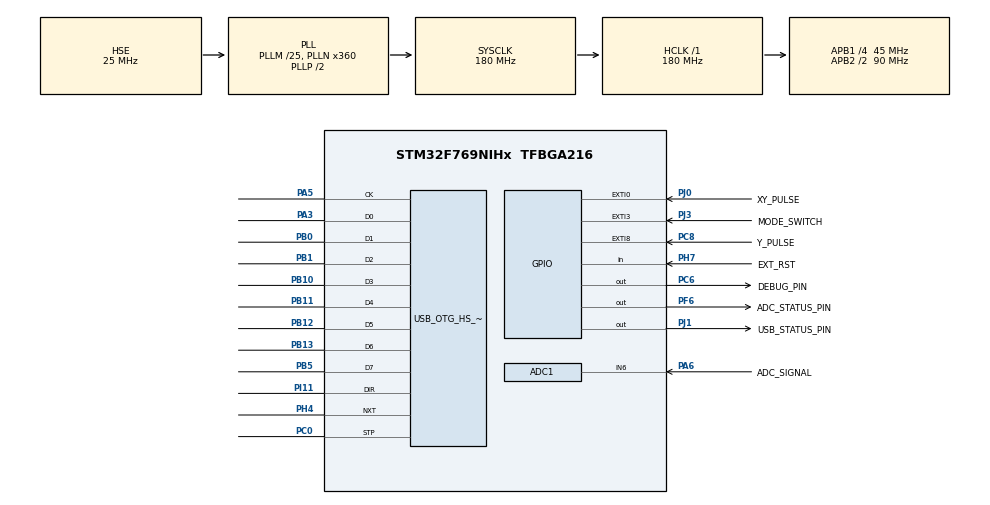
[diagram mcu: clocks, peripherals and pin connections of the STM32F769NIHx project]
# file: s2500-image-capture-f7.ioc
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ADC1.Channel-0\#ChannelRegularConversion=ADC_CHANNEL_6
ADC1.ClockPrescaler=ADC_CLOCK_SYNC_PCLK_DIV4
ADC1.ContinuousConvMode=ENABLE
ADC1.DMAContinuousRequests=DISABLE
ADC1.EOCSelection=ADC_EOC_SEQ_CONV
ADC1.NbrOfConversionFlag=1
ADC1.Rank-0\#ChannelRegularConversion=1
ADC1.Resolution=ADC_RESOLUTION_12B
ADC1.SamplingTime-0\#ChannelRegularConversion=ADC_SAMPLETIME_28CYCLES
ADC1.master=1
Dma.ADC1.0.Direction=DMA_PERIPH_TO_MEMORY
Dma.ADC1.0.FIFOMode=DMA_FIFOMODE_ENABLE
Dma.ADC1.0.FIFOThreshold=DMA_FIFO_THRESHOLD_FULL
Dma.ADC1.0.Instance=DMA2_Stream0
Dma.ADC1.0.MemBurst=DMA_MBURST_SINGLE
Dma.ADC1.0.MemDataAlignment=DMA_MDATAALIGN_HALFWORD
Dma.ADC1.0.MemInc=DMA_MINC_ENABLE
Dma.ADC1.0.Mode=DMA_NORMAL
Dma.ADC1.0.PeriphBurst=DMA_PBURST_SINGLE
Dma.ADC1.0.PeriphDataAlignment=DMA_PDATAALIGN_HALFWORD
Dma.ADC1.0.PeriphInc=DMA_PINC_DISABLE
Dma.ADC1.0.Priority=DMA_PRIORITY_HIGH
Dma.Request0=ADC1
Mcu.Family=STM32F7
Mcu.Name=STM32F769NIHx
Mcu.Package=TFBGA216
NVIC.ADC_IRQn=true\:0\:0\:false\:false\:true\:true\:true
NVIC.DMA2_Stream0_IRQn=true\:0\:0\:false\:false\:true\:false\:true
NVIC.EXTI0_IRQn=true\:0\:0\:false\:false\:true\:true\:true
NVIC.EXTI3_IRQn=true\:0\:0\:false\:false\:true\:true\:true
NVIC.EXTI9_5_IRQn=true\:0\:0\:false\:false\:true\:true\:true
NVIC.OTG_HS_IRQn=true\:0\:0\:false\:false\:true\:true\:true
NVIC.PriorityGroup=NVIC_PRIORITYGROUP_4
NVIC.TIM6_DAC_IRQn=true\:0\:0\:false\:false\:true\:true\:true
NVIC.TIM7_IRQn=true\:0\:0\:false\:false\:true\:true\:true
NVIC.TIM8_UP_TIM13_IRQn=true\:0\:0\:false\:false\:true\:true\:true
PA3.Mode=Device_HS
PA3.Signal=USB_OTG_HS_ULPI_D0
PA5.Mode=Device_HS
PA5.Signal=USB_OTG_HS_ULPI_CK
PA6.GPIO_Label=ADC_SIGNAL
PA6.Signal=ADCx_IN6
PB0.Mode=Device_HS
PB0.Signal=USB_OTG_HS_ULPI_D1
PB1.Mode=Device_HS
PB1.Signal=USB_OTG_HS_ULPI_D2
PB10.Mode=Device_HS
PB10.Signal=USB_OTG_HS_ULPI_D3
PB11.Mode=Device_HS
PB11.Signal=USB_OTG_HS_ULPI_D4
PB12.Mode=Device_HS
PB12.Signal=USB_OTG_HS_ULPI_D5
PB13.Mode=Device_HS
PB13.Signal=USB_OTG_HS_ULPI_D6
PB5.Mode=Device_HS
PB5.Signal=USB_OTG_HS_ULPI_D7
PC0.Mode=Device_HS
PC0.Signal=USB_OTG_HS_ULPI_STP
PC6.GPIO_Label=DEBUG_PIN
PC6.Signal=GPIO_Output
PC8.GPIO_Label=Y_PULSE
PC8.GPIO_ModeDefaultEXTI=GPIO_MODE_IT_FALLING
PC8.Signal=GPXTI8
PF6.GPIO_Label=ADC_STATUS_PIN
PF6.Signal=GPIO_Output
PH0/OSC_IN.GPIO_Label=OSC_25M [NZ2520SB-25.00M_OUT]
PH0/OSC_IN.Mode=HSE-External-Oscillator
PH0/OSC_IN.Signal=RCC_OSC_IN
PH1/OSC_OUT.Mode=HSE-External-Oscillator
PH1/OSC_OUT.Signal=RCC_OSC_OUT
PH4.Mode=Device_HS
PH4.Signal=USB_OTG_HS_ULPI_NXT
PH7.GPIO_Label=EXT_RST
PH7.Signal=GPIO_Input
PI11.Mode=Device_HS
PI11.Signal=USB_OTG_HS_ULPI_DIR
PJ0.GPIO_Label=XY_PULSE
PJ0.GPIO_ModeDefaultEXTI=GPIO_MODE_IT_RISING_FALLING
PJ0.GPIO_PuPd=GPIO_NOPULL
PJ0.Signal=GPXTI0
PJ1.GPIO_Label=USB_STATUS_PIN
PJ1.Signal=GPIO_Output
PJ3.GPIO_Label=MODE_SWITCH
PJ3.GPIO_ModeDefaultEXTI=GPIO_MODE_IT_FALLING
PJ3.GPIO_PuPd=GPIO_PULLUP
PJ3.Signal=GPXTI3
ProjectManager.HeapSize=0x200
ProjectManager.StackSize=0x400
ProjectManager.TargetToolchain=SW4STM32
RCC.AHBFreq_Value=180000000
RCC.APB1CLKDivider=RCC_HCLK_DIV4
RCC.APB1Freq_Value=45000000
RCC.APB1TimFreq_Value=90000000
RCC.APB2CLKDivider=RCC_HCLK_DIV2
RCC.APB2Freq_Value=90000000
RCC.APB2TimFreq_Value=180000000
RCC.CortexFreq_Value=180000000
RCC.HCLKFreq_Value=180000000
RCC.HSE_VALUE=25000000
RCC.HSI_VALUE=16000000
RCC.LSE_VALUE=32768
RCC.PLLM=25
RCC.PLLN=360
RCC.PLLQ=5
RCC.PLLSAIQ=3
RCC.PLLSourceVirtual=RCC_PLLSOURCE_HSE
RCC.PWREXT_OverDrive=PWREXT_OverDrive_DESACTIVATED
RCC.PWR_Regulator_Voltage_Scale=PWR_REGULATOR_VOLTAGE_SCALE1
RCC.SYSCLKFreq_VALUE=180000000
RCC.SYSCLKSource=RCC_SYSCLKSOURCE_PLLCLK
RCC.USBFreq_Value=72000000
RCC.VCOOutputFreq_Value=360000000
SH.ADCx_IN6.0=ADC1_IN6,IN6
TIM13.Period=95
TIM6.Period=18
TIM6.Prescaler=0
TIM7.Period=62499
TIM7.Prescaler=89
USB_DEVICE.CLASS_NAME_HS=CDC
USB_DEVICE.VirtualMode-CDC_HS=Cdc
USB_DEVICE.VirtualModeHS=Cdc_HS
USB_OTG_HS.VirtualMode-Device_HS=Device_HS
VP_TIM13_VS_ClockSourceINT.Mode=Enable_Timer
VP_TIM6_VS_ClockSourceINT.Mode=Enable_Timer
VP_TIM7_VS_ClockSourceINT.Mode=Enable_Timer
VP_USB_DEVICE_VS_USB_DEVICE_CDC_HS.Mode=CDC_HS
board=STM32F769I-DISCO

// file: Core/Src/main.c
/* USER CODE BEGIN Header */
/**
  ******************************************************************************
  * @file           : main.c
  * @brief          : Main program body
  ******************************************************************************
  * @attention
  *
  * <h2><center>&copy; Copyright (c) 2021 STMicroelectronics.
  * All rights reserved.</center></h2>
  *
  * This software component is licensed by ST under BSD 3-Clause license,
  * the "License"; You may not use this file except in compliance with the
  * License. You may obtain a copy of the License at:
  *                        opensource.org/licenses/BSD-3-Clause
  *
  ******************************************************************************
  */
/* USER CODE END Header */
#include "main.h"
#include "usb_device.h"

/* USER CODE BEGIN Includes */
#include <usbd_cdc_if.h>
#include "adc.h"

/* USER CODE END Includes */

/* USER CODE BEGIN PTD */
#define BUF_SIZE 128        // number of elements, not bytes
#define STATUS_BUF_SIZE 6   // number of elements, not bytes

// Flow control
uint8_t mode_switch_requested = 0;
uint8_t xy_pulse_fired = 0;
uint8_t y_pulse_fired = 0;
uint8_t usb_transfer_complete = 1;
uint8_t current_adc_mode = ADC_CUSTOM_SPEED_THREEQUARTERS;
volatile uint8_t xy_rising_or_falling = 0;
volatile uint8_t y_rising_or_falling = 0;
uint8_t status_buffer_ready = 0;
uint16_t items_remaining = 0;

// Data buffers
uint16_t tim7_overflow = 0;
uint16_t* buffer0;
uint16_t* buffer1;
volatile uint16_t* buf_to_fill = NULL;
volatile uint8_t buf_ready = 0;
uint16_t* status_code_buffer;

volatile uint8_t* usb_received_data_buf;
volatile uint8_t usb_received_data_buf_ready = 1;
volatile uint8_t usb_received_data_len = 64;

/**
 * Possible values sent over USB from this device:
 *
 * status_code_buffer
 *  0xFEFA - start of X pulse data
 *  0xXXXX - pulse tim7 overflows (16/sec)
 *  0xXXXX - pulse microseconds (1e6/sec)
 *  0xXXXX - scan mode (ADC_CUSTOM_SPEED_*)
 *  0xXXXX - row (image data) tim7 oveflows (16/sec)
 *  0xXXXX - row (image data) microseconds (16/sec)
 *
 * status_code_buffer
 *  0xFEFB - start of Y pulse data
 *  0xXXXX - pulse tim7 overflows (16/sec)
 *  0xXXXX - pulse microseconds (1e6/sec)
 *  0xXXXX - scan mode (ADC_CUSTOM_SPEED_*)
 *  0xXXXX - don't care
 *  0xXXXX - don't care
 *
 * status_code_buffer
 *  0xFEFC - responding to heartbeat request command
 *  0xXXXX - don't care
 *  0xXXXX - don't care
 *  0xXXXX - don't care
 *  0xXXXX - don't care
 *  0xXXXX - don't care
 *
 * Everything else sent over USB are ADC sampled values
 */

/**
 * Possible values sent over USB to this device:
 *
 * 0xA0 - Reconfigure ADC with last selected (or default) mode and restart it on the rising edge of the next pulse.
 *        Note that this could be mid-frame (and very likely will be)
 * 0xA1 - Same as above but with ADC_CUSTOM_SPEED_RAPID
 * 0xA2 - Same as above but with ADC_CUSTOM_SPEED_HALF
 * 0xA3 - Same as above but with ADC_CUSTOM_SPEED_HALF_SLOWER
 * 0xA4 - Same as above but with ADC_CUSTOM_SPEED_THREEQUARTERS
 * 0xA5 - Same as above but with ADC_CUSTOM_SPEED_THREEQUARTERS_SLOWER
 * 0xA6 - Same as above but with ADC_CUSTOM_SPEED_PHOTO
 * 0xA7 - Respond ASAP with heartbeat data (see status_code_buffer 0xFEFC). Will always be sent before the next
 *        real status_code_buffer packet.
 *
 * Everything else is received but ignored
 */
/* USER CODE END PTD */

ADC_HandleTypeDef hadc1;
DMA_HandleTypeDef hdma_adc1;

TIM_HandleTypeDef htim6;
TIM_HandleTypeDef htim7;
TIM_HandleTypeDef htim13;

/* USER CODE BEGIN PV */
/*
 *  htim6 = XY_Pulse bounce timer
 *  htim7 = pulse/row timer
 *  htim13 = Y_pulse bounce timer
 */

/* USER CODE END PV */

void SystemClock_Config(void);
static void MX_GPIO_Init(void);
static void MX_DMA_Init(void);
static void MX_ADC1_Init(void);
static void MX_TIM7_Init(void);
static void MX_TIM6_Init(void);
static void MX_TIM13_Init(void);

void HandleIncomingCommand();

void SendBuffer(uint8_t status, uint16_t len);

void SendStatusBuffer();
/* USER CODE END 0 */

int main(void)
{
  /* USER CODE BEGIN 1 */
    uint8_t status;
    buffer0 = (uint16_t *)malloc(sizeof(uint16_t) * BUF_SIZE);
    buffer1 = (uint16_t *)malloc(sizeof(uint16_t) * BUF_SIZE);
    buf_to_fill = buffer0;

    status_code_buffer = (uint16_t *)malloc(sizeof(uint16_t) * STATUS_BUF_SIZE);
    usb_received_data_buf = (uint8_t *)malloc(64);
  /* USER CODE END 1 */

  /* MCU Configuration--------------------------------------------------------*/

  /* Reset of all peripherals, Initializes the Flash interface and the Systick. */
  HAL_Init();

  /* USER CODE BEGIN Init */
    memset(buffer0, 0x55, BUF_SIZE * sizeof(uint16_t));
    memset(buffer1, 0x54, BUF_SIZE * sizeof(uint16_t));
    memset(status_code_buffer, 0x00, STATUS_BUF_SIZE * sizeof(uint16_t));
    status_code_buffer[0] = 0xFEFA;
    memset(usb_received_data_buf, 0x52, 64);

  /* USER CODE END Init */

  /* Configure the system clock */
  SystemClock_Config();

  /* Initialize all configured peripherals */
  MX_GPIO_Init();
  MX_DMA_Init();
  MX_ADC1_Init();
  MX_TIM7_Init();
  MX_USB_DEVICE_Init();
  MX_TIM6_Init();
  MX_TIM13_Init();
  /* USER CODE BEGIN 2 */
  HAL_ADC_Stop_DMA(&hadc1);
  ADC_SwitchSamplingMode(&hadc1, current_adc_mode);
  /* USER CODE END 2 */

  /* Infinite loop */
  while (1)
  {

    /* USER CODE BEGIN 3 */
      // X or Y pulse, rising or falling
      // Measures the duration of X and/or Y pulses and starts/stops data collection
      // The xy_pulse line is supposed to contain both X and Y pulses, but in 3/4 scan speed the pulse time is the same
      // We'll use the dedicated Y pulse line to detect Y pulses for sure
      if (xy_pulse_fired) {
          xy_pulse_fired = 0;
          if (HAL_GPIO_ReadPin(XY_PULSE_GPIO_Port, XY_PULSE_Pin) == GPIO_PIN_SET) {
              DEBUG_HIGH

              HAL_TIM_Base_Stop_IT(&htim7);
              status_code_buffer[1] = tim7_overflow;
              status_code_buffer[2] = ((uint16_t)__HAL_TIM_GET_COUNTER(&htim7));

              // Start timing the row
              __HAL_TIM_SET_COUNTER(&htim7, 0);
              tim7_overflow = 0;
              HAL_TIM_Base_Start_IT(&htim7);
              HAL_ADC_Start_DMA(&hadc1, (uint32_t*)buf_to_fill, BUF_SIZE);
          } else {
              DEBUG_LOW
              HAL_ADC_Stop_DMA(&hadc1);
              items_remaining = (uint16_t)hadc1.DMA_Handle->Instance->NDTR;
              HAL_TIM_Base_Stop_IT(&htim7);

              // how to calculate duration in seconds:
              // pulse_time = ((double)tim7_overflow / 16) + ((double)__HAL_TIM_GET_COUNTER(&htim7) / 1000000);
              // row_time   = ((double)tim7_overflow / 16) + ((double)__HAL_TIM_GET_COUNTER(&htim7) / 1000000);
              if (y_pulse_fired) {
                  y_pulse_fired = 0;
                  // this is a Y pulse
                  status_code_buffer[0] = 0xFEFB;
              } else {
                  // just an X pulse
                  status_code_buffer[0] = 0xFEFA;
              }
              // [1] and [2] set above (XY pulse time)
              status_code_buffer[3] = (uint16_t)current_adc_mode;
              status_code_buffer[4] = tim7_overflow; // row time
              status_code_buffer[5] = ((uint16_t) __HAL_TIM_GET_COUNTER(&htim7));

              status_buffer_ready = 1; // sent below
              if (buf_to_fill == buffer0) {
                  ADC_STATUS_HIGH // signal buffer swap
                  buf_to_fill = buffer1;
              } else {
                  ADC_STATUS_LOW
                  buf_to_fill = buffer0;
              }
              buf_ready = 1;

              __HAL_TIM_SET_COUNTER(&htim7, 0);
              tim7_overflow = 0;
              HAL_TIM_Base_Start_IT(&htim7);
          }
      }

      uint16_t len = ( ((uint16_t)BUF_SIZE) - items_remaining)*2;

      while (buf_ready) {
          SendBuffer(status, len);
      }

      while (status_buffer_ready) {
          SendStatusBuffer();
      }

      if (usb_received_data_buf_ready) {
          HandleIncomingCommand();
          usb_received_data_buf_ready = 0;
      }

    if (mode_switch_requested) {
        HAL_ADC_Stop_DMA(&hadc1);
        HAL_TIM_Base_Stop_IT(&htim7);
        ADC_SwitchSamplingMode(&hadc1, current_adc_mode);
        mode_switch_requested = 0;
        // ADC restarted during XY pulse
    }

  }
  /* USER CODE END 3 */
}

void SystemClock_Config(void)
{
  RCC_OscInitTypeDef RCC_OscInitStruct = {0};
  RCC_ClkInitTypeDef RCC_ClkInitStruct = {0};

  /** Configure the main internal regulator output voltage
  */
  __HAL_RCC_PWR_CLK_ENABLE();
  __HAL_PWR_VOLTAGESCALING_CONFIG(PWR_REGULATOR_VOLTAGE_SCALE1);
  /** Initializes the RCC Oscillators according to the specified parameters
  * in the RCC_OscInitTypeDef structure.
  */
  RCC_OscInitStruct.OscillatorType = RCC_OSCILLATORTYPE_HSE;
  RCC_OscInitStruct.HSEState = RCC_HSE_ON;
  RCC_OscInitStruct.PLL.PLLState = RCC_PLL_ON;
  RCC_OscInitStruct.PLL.PLLSource = RCC_PLLSOURCE_HSE;
  RCC_OscInitStruct.PLL.PLLM = 25;
  RCC_OscInitStruct.PLL.PLLN = 360;
  RCC_OscInitStruct.PLL.PLLP = RCC_PLLP_DIV2;
  RCC_OscInitStruct.PLL.PLLQ = 5;
  RCC_OscInitStruct.PLL.PLLR = 2;
  if (HAL_RCC_OscConfig(&RCC_OscInitStruct) != HAL_OK)
  {
    Error_Handler();
  }
  /** Initializes the CPU, AHB and APB buses clocks
  */
  RCC_ClkInitStruct.ClockType = RCC_CLOCKTYPE_HCLK|RCC_CLOCKTYPE_SYSCLK
                              |RCC_CLOCKTYPE_PCLK1|RCC_CLOCKTYPE_PCLK2;
  RCC_ClkInitStruct.SYSCLKSource = RCC_SYSCLKSOURCE_PLLCLK;
  RCC_ClkInitStruct.AHBCLKDivider = RCC_SYSCLK_DIV1;
  RCC_ClkInitStruct.APB1CLKDivider = RCC_HCLK_DIV4;
  RCC_ClkInitStruct.APB2CLKDivider = RCC_HCLK_DIV2;

  if (HAL_RCC_ClockConfig(&RCC_ClkInitStruct, FLASH_LATENCY_5) != HAL_OK)
  {
    Error_Handler();
  }
}

static void MX_ADC1_Init(void)
{

  ADC_ChannelConfTypeDef sConfig = {0};

  /** Configure the global features of the ADC (Clock, Resolution, Data Alignment and number of conversion)
  */
  hadc1.Instance = ADC1;
  hadc1.Init.ClockPrescaler = ADC_CLOCK_SYNC_PCLK_DIV4;
  hadc1.Init.Resolution = ADC_RESOLUTION_12B;
  hadc1.Init.ScanConvMode = ADC_SCAN_DISABLE;
  hadc1.Init.ContinuousConvMode = ENABLE;
  hadc1.Init.DiscontinuousConvMode = DISABLE;
  hadc1.Init.ExternalTrigConvEdge = ADC_EXTERNALTRIGCONVEDGE_NONE;
  hadc1.Init.ExternalTrigConv = ADC_SOFTWARE_START;
  hadc1.Init.DataAlign = ADC_DATAALIGN_RIGHT;
  hadc1.Init.NbrOfConversion = 1;
  hadc1.Init.DMAContinuousRequests = DISABLE;
  hadc1.Init.EOCSelection = ADC_EOC_SEQ_CONV;
  if (HAL_ADC_Init(&hadc1) != HAL_OK)
  {
    Error_Handler();
  }
  /** Configure for the selected ADC regular channel its corresponding rank in the sequencer and its sample time.
  */
  sConfig.Channel = ADC_CHANNEL_6;
  sConfig.Rank = ADC_REGULAR_RANK_1;
  sConfig.SamplingTime = ADC_SAMPLETIME_28CYCLES;
  if (HAL_ADC_ConfigChannel(&hadc1, &sConfig) != HAL_OK)
  {
    Error_Handler();
  }

}

static void MX_TIM6_Init(void)
{

  TIM_MasterConfigTypeDef sMasterConfig = {0};

  htim6.Instance = TIM6;
  htim6.Init.Prescaler = 0;
  htim6.Init.CounterMode = TIM_COUNTERMODE_UP;
  htim6.Init.Period = 95;
  htim6.Init.AutoReloadPreload = TIM_AUTORELOAD_PRELOAD_DISABLE;
  if (HAL_TIM_Base_Init(&htim6) != HAL_OK)
  {
    Error_Handler();
  }
  sMasterConfig.MasterOutputTrigger = TIM_TRGO_RESET;
  sMasterConfig.MasterSlaveMode = TIM_MASTERSLAVEMODE_DISABLE;
  if (HAL_TIMEx_MasterConfigSynchronization(&htim6, &sMasterConfig) != HAL_OK)
  {
    Error_Handler();
  }

}

static void MX_TIM7_Init(void)
{

  TIM_MasterConfigTypeDef sMasterConfig = {0};

  htim7.Instance = TIM7;
  htim7.Init.Prescaler = 89;
  htim7.Init.CounterMode = TIM_COUNTERMODE_UP;
  htim7.Init.Period = 62499;
  htim7.Init.AutoReloadPreload = TIM_AUTORELOAD_PRELOAD_DISABLE;
  if (HAL_TIM_Base_Init(&htim7) != HAL_OK)
  {
    Error_Handler();
  }
  sMasterConfig.MasterOutputTrigger = TIM_TRGO_RESET;
  sMasterConfig.MasterSlaveMode = TIM_MASTERSLAVEMODE_DISABLE;
  if (HAL_TIMEx_MasterConfigSynchronization(&htim7, &sMasterConfig) != HAL_OK)
  {
    Error_Handler();
  }

}

static void MX_TIM13_Init(void)
{

  htim13.Instance = TIM13;
  htim13.Init.Prescaler = 0;
  htim13.Init.CounterMode = TIM_COUNTERMODE_UP;
  htim13.Init.Period = 95;
  htim13.Init.ClockDivision = TIM_CLOCKDIVISION_DIV1;
  htim13.Init.AutoReloadPreload = TIM_AUTORELOAD_PRELOAD_DISABLE;
  if (HAL_TIM_Base_Init(&htim13) != HAL_OK)
  {
    Error_Handler();
  }

}

static void MX_DMA_Init(void)
{

  /* DMA controller clock enable */
  __HAL_RCC_DMA2_CLK_ENABLE();

  /* DMA interrupt init */
  /* DMA2_Stream0_IRQn interrupt configuration */
  HAL_NVIC_SetPriority(DMA2_Stream0_IRQn, 0, 0);
  HAL_NVIC_EnableIRQ(DMA2_Stream0_IRQn);

}

static void MX_GPIO_Init(void)
{
  GPIO_InitTypeDef GPIO_InitStruct = {0};

  /* GPIO Ports Clock Enable */
  __HAL_RCC_GPIOB_CLK_ENABLE();
  __HAL_RCC_GPIOI_CLK_ENABLE();
  __HAL_RCC_GPIOH_CLK_ENABLE();
  __HAL_RCC_GPIOC_CLK_ENABLE();
  __HAL_RCC_GPIOF_CLK_ENABLE();
  __HAL_RCC_GPIOJ_CLK_ENABLE();
  __HAL_RCC_GPIOA_CLK_ENABLE();

  /*Configure GPIO pin Output Level */
  HAL_GPIO_WritePin(DEBUG_PIN_GPIO_Port, DEBUG_PIN_Pin, GPIO_PIN_RESET);

  /*Configure GPIO pin Output Level */
  HAL_GPIO_WritePin(ADC_STATUS_PIN_GPIO_Port, ADC_STATUS_PIN_Pin, GPIO_PIN_RESET);

  /*Configure GPIO pin Output Level */
  HAL_GPIO_WritePin(USB_STATUS_PIN_GPIO_Port, USB_STATUS_PIN_Pin, GPIO_PIN_RESET);

  /*Configure GPIO pin : Y_PULSE_Pin */
  GPIO_InitStruct.Pin = Y_PULSE_Pin;
  GPIO_InitStruct.Mode = GPIO_MODE_IT_FALLING;
  GPIO_InitStruct.Pull = GPIO_NOPULL;
  HAL_GPIO_Init(Y_PULSE_GPIO_Port, &GPIO_InitStruct);

  /*Configure GPIO pin : DEBUG_PIN_Pin */
  GPIO_InitStruct.Pin = DEBUG_PIN_Pin;
  GPIO_InitStruct.Mode = GPIO_MODE_OUTPUT_PP;
  GPIO_InitStruct.Pull = GPIO_NOPULL;
  GPIO_InitStruct.Speed = GPIO_SPEED_FREQ_LOW;
  HAL_GPIO_Init(DEBUG_PIN_GPIO_Port, &GPIO_InitStruct);

  /*Configure GPIO pin : ADC_STATUS_PIN_Pin */
  GPIO_InitStruct.Pin = ADC_STATUS_PIN_Pin;
  GPIO_InitStruct.Mode = GPIO_MODE_OUTPUT_PP;
  GPIO_InitStruct.Pull = GPIO_NOPULL;
  GPIO_InitStruct.Speed = GPIO_SPEED_FREQ_LOW;
  HAL_GPIO_Init(ADC_STATUS_PIN_GPIO_Port, &GPIO_InitStruct);

  /*Configure GPIO pin : MODE_SWITCH_Pin */
  GPIO_InitStruct.Pin = MODE_SWITCH_Pin;
  GPIO_InitStruct.Mode = GPIO_MODE_IT_FALLING;
  GPIO_InitStruct.Pull = GPIO_PULLUP;
  HAL_GPIO_Init(MODE_SWITCH_GPIO_Port, &GPIO_InitStruct);

  /*Configure GPIO pin : EXT_RST_Pin */
  GPIO_InitStruct.Pin = EXT_RST_Pin;
  GPIO_InitStruct.Mode = GPIO_MODE_INPUT;
  GPIO_InitStruct.Pull = GPIO_NOPULL;
  HAL_GPIO_Init(EXT_RST_GPIO_Port, &GPIO_InitStruct);

  /*Configure GPIO pin : XY_PULSE_Pin */
  GPIO_InitStruct.Pin = XY_PULSE_Pin;
  GPIO_InitStruct.Mode = GPIO_MODE_IT_RISING_FALLING;
  GPIO_InitStruct.Pull = GPIO_NOPULL;
  HAL_GPIO_Init(XY_PULSE_GPIO_Port, &GPIO_InitStruct);

  /*Configure GPIO pin : USB_STATUS_PIN_Pin */
  GPIO_InitStruct.Pin = USB_STATUS_PIN_Pin;
  GPIO_InitStruct.Mode = GPIO_MODE_OUTPUT_PP;
  GPIO_InitStruct.Pull = GPIO_NOPULL;
  GPIO_InitStruct.Speed = GPIO_SPEED_FREQ_LOW;
  HAL_GPIO_Init(USB_STATUS_PIN_GPIO_Port, &GPIO_InitStruct);

  /* EXTI interrupt init*/
  HAL_NVIC_SetPriority(EXTI0_IRQn, 0, 0);
  HAL_NVIC_EnableIRQ(EXTI0_IRQn);

  HAL_NVIC_SetPriority(EXTI3_IRQn, 0, 0);
  HAL_NVIC_EnableIRQ(EXTI3_IRQn);

  HAL_NVIC_SetPriority(EXTI9_5_IRQn, 0, 0);
  HAL_NVIC_EnableIRQ(EXTI9_5_IRQn);

}

/* USER CODE BEGIN 4 */
void SendStatusBuffer() {
    USB_STATUS_HIGH // set low by transfer complete callback
    if (CDC_Transmit_HS((uint8_t*)status_code_buffer, STATUS_BUF_SIZE*2) != USBD_OK) {
        DEBUG_HIGH DEBUG_LOW DEBUG_HIGH DEBUG_LOW DEBUG_HIGH DEBUG_LOW
    } else {
        status_buffer_ready = 0;
    }
}

void SendBuffer(uint8_t status, uint16_t len) {// The buffer just swapped and the old one is ready to send
    usb_transfer_complete = 0;

    USB_STATUS_LOW
    USB_STATUS_HIGH // set low by transfer complete callback
    // Transfer up to BUF_SIZE samples, less the number, in bytes (2 bytes per sample)
    if (buf_to_fill == buffer0) {
        status = CDC_Transmit_HS((uint8_t*)buffer1, len);
    } else {
        status = CDC_Transmit_HS((uint8_t*)buffer0, len);
    }
    if (status != USBD_OK) {
        // signal we lost a buffer
        DEBUG_HIGH DEBUG_LOW DEBUG_HIGH DEBUG_LOW
    } else {
        usb_transfer_complete = 1;
        buf_ready = 0;
        items_remaining = 0;
    }
}

void HandleIncomingCommand() {
    for (uint8_t i=0; i < usb_received_data_len; ++i) {
        switch (usb_received_data_buf[i]) {
            case 0xA0: // restart with current ADC mode
                mode_switch_requested = 1;
                break;
            case 0xA1:
                current_adc_mode = ADC_CUSTOM_SPEED_RAPID;
                mode_switch_requested = 1;
                break;
            case 0xA2:
                current_adc_mode = ADC_CUSTOM_SPEED_HALF;
                mode_switch_requested = 1;
                break;
            case 0xA3:
                current_adc_mode = ADC_CUSTOM_SPEED_HALF_SLOWER;
                mode_switch_requested = 1;
                break;
            case 0xA4:
                current_adc_mode = ADC_CUSTOM_SPEED_THREEQUARTERS;
                mode_switch_requested = 1;
                break;
            case 0xA5:
                current_adc_mode = ADC_CUSTOM_SPEED_THREEQUARTERS_SLOWER;
                mode_switch_requested = 1;
                break;
            case 0xA6:
                current_adc_mode = ADC_CUSTOM_SPEED_PHOTO;
                mode_switch_requested = 1;
                break;
            case 0xA7: // heartbeat
                status_code_buffer[0] = 0xFEFC;
                status_buffer_ready = 1;
                break;
            default:
                break;
        }
    }
}

void HAL_ADC_ConvCpltCallback(ADC_HandleTypeDef* hadc) {
    HAL_ADC_Stop_DMA(&hadc1);
    if (!usb_transfer_complete || buf_ready) {
        // buf still being ready means it wasn't transmitted
        ADC_STATUS_HIGH // signal failure to transfer
        ADC_STATUS_LOW
        ADC_STATUS_HIGH
        ADC_STATUS_LOW
        ADC_STATUS_HIGH
        ADC_STATUS_LOW
    }
    if (buf_to_fill == buffer0) {
        ADC_STATUS_HIGH // signal buffer swap
        buf_to_fill = buffer1;
    } else {
        ADC_STATUS_LOW
        buf_to_fill = buffer0;
    }
    buf_ready = 1;
//    DMA2_Stream0->NDTR

//    if (HAL_GPIO_ReadPin(XY_PULSE_GPIO_Port, XY_PULSE_Pin) == GPIO_PIN_SET) {
    HAL_ADC_Start_DMA(&hadc1, (uint32_t*)buf_to_fill, BUF_SIZE);
//    }
}

void HAL_ADC_ErrorCallback(ADC_HandleTypeDef *hadc) {
    // possible overrun
    ADC_STATUS_HIGH ADC_STATUS_LOW
    ADC_STATUS_HIGH ADC_STATUS_LOW
    ADC_STATUS_HIGH ADC_STATUS_LOW
    ADC_STATUS_HIGH ADC_STATUS_LOW
    ADC_STATUS_HIGH ADC_STATUS_LOW
    ADC_STATUS_HIGH ADC_STATUS_LOW
    ADC_STATUS_HIGH ADC_STATUS_LOW
    ADC_STATUS_HIGH ADC_STATUS_LOW
    ADC_STATUS_HIGH ADC_STATUS_LOW
    ADC_STATUS_HIGH ADC_STATUS_LOW
    ADC_STATUS_HIGH ADC_STATUS_LOW
    ADC_STATUS_HIGH ADC_STATUS_LOW
//    HAL_ADC_Stop_DMA(hadc);
//    HAL_ADC_Start_DMA(hadc, (uint32_t*)buf_to_fill, BUF_SIZE);
}

/* USER CODE END 4 */

void Error_Handler(void)
{
  __disable_irq();
  while (1)
  {
  }
}

/************************ (C) COPYRIGHT STMicroelectronics *****END OF FILE****/
